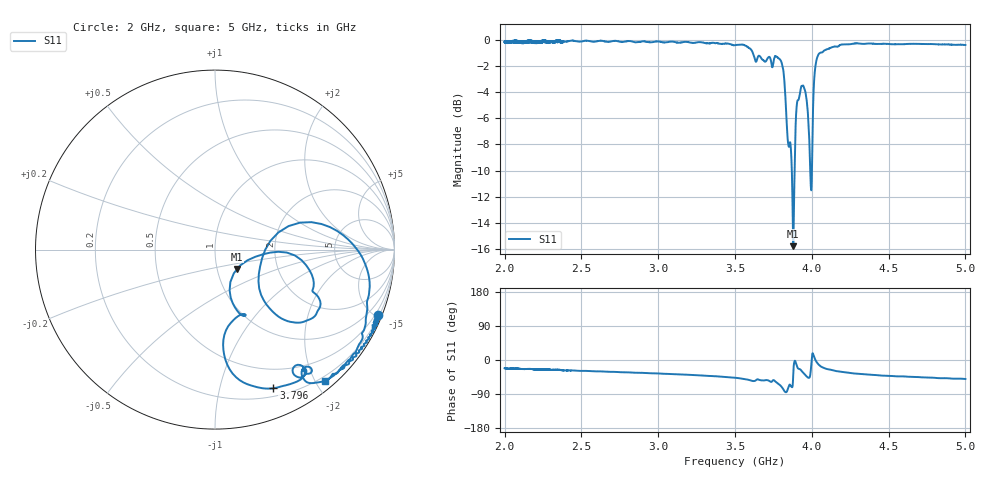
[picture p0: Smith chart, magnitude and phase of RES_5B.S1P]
!Agilent Technologies,E5071C,MY46214220,A.11.31
!Date: Fri Sep 22 10:34:45 2017
!Data & Calibration Information:
!Freq	S11:SOLT1(ON)
!PortZ  Port1:50+j0
!Above PortZ is port z conversion or system Z0 setting when saving the data.
!When reading, reference impedance value at option line is always used.
# Hz S dB R 50
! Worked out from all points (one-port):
!   20000 points, 2 GHz to 5 GHz, reference 50 ohm
!   lowest |S11| = -15.8 dB at 3.879 GHz (marker M1), VSWR 1.39, Z = 62.2 - j13.7 ohm
!   |S11| at or under -10 dB: 3.869995 GHz to 3.888075 GHz (18.08 MHz wide, 0.466 % of centre); 3.98985 GHz to 4.000958 GHz (11.11 MHz wide, 0.278 % of centre)
!   S11 on the Smith chart (normalised r, x): 2 GHz: 0.30, -5.19; 3.796 GHz: 0.28, -1.47; 5 GHz: 0.13, -2.13
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2e9  -0.18 -21.7
2.375019e9  -0.10 -27.0
2.750038e9  -0.14 -32.1
3.125056e9  -0.20 -37.8
3.500075e9  -0.40 -46.8
3.623681e9  -1.25 -55.5
3.759888e9  -1.26 -55.7
3.79559e9  -1.54 -67.2
3.812991e9  -2.22 -76.2
3.830092e9  -4.78 -85.1
3.875094e9  -13.19 -68.0
3.878994e9  -15.79 -41.4
3.892945e9  -7.27 -3.5
3.904345e9  -4.78 -17.7
3.920246e9  -4.28 -23.8
3.941697e9  -3.50 -32.4
3.964648e9  -4.44 -42.6
3.978299e9  -6.31 -47.0
3.99135e9  -10.59 -35.0
4.00275e9  -8.74 15.1
4.012501e9  -3.70 11.1
4.025251e9  -1.88 -1.4
4.040852e9  -1.17 -10.5
4.062903e9  -0.97 -18.1
4.097705e9  -0.72 -23.7
4.250113e9  -0.33 -34.2
4.625131e9  -0.31 -44.1
5e9  -0.39 -50.1
